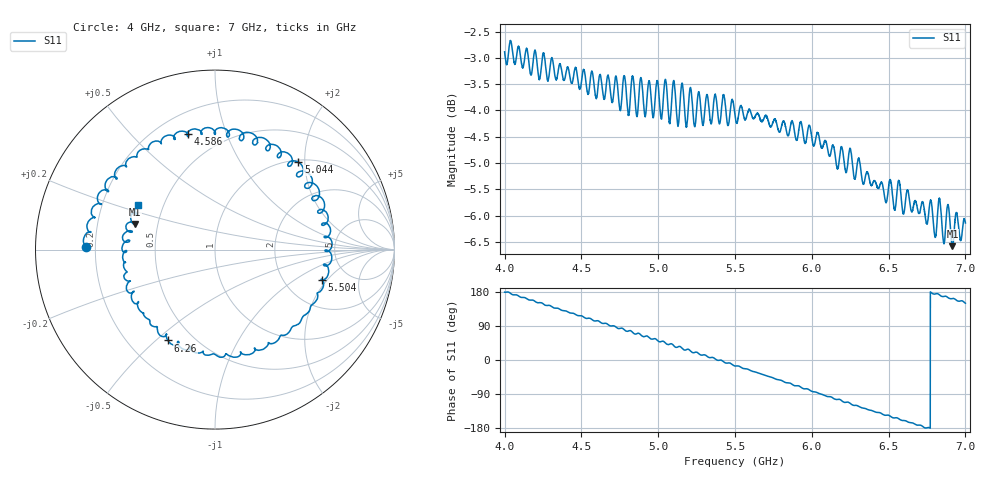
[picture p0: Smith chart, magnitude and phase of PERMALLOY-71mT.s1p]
#  HZ  S  RI  R  50.0
! Rohde & Schwarz ZVL13 2Ports - Version 3.31 - 1303.6509k13 SN: 101088
! Date: 2023-03-03 14:44:32
! Data & Calibration Information:
! Trc2:S21(TOSM)
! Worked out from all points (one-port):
!   4000 points, 4 GHz to 7 GHz, reference 50 ohm
!   lowest |S11| = -6.6 dB at 6.916 GHz (marker M1), VSWR 2.76, Z = 18.5 + j6.79 ohm
!   |S11| at or under -10 dB: nowhere
!   S11 on the Smith chart (normalised r, x): 4 GHz: 0.16, +0.01; 4.586 GHz: 0.33, +0.74; 5.044 GHz: 1.04, +1.86; 5.504 GHz: 3.20, -1.76; 6.26 GHz: 0.37, -0.55; 7 GHz: 0.36, +0.24
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4e9  -0.7171 0.0127
4.024006e9  -0.7133 0.00855
4.194299e9  -0.6547 0.2942
4.375094e9  -0.4457 0.5179
4.51838e9  -0.2611 0.6374
4.585896e9  -0.1493 0.6431
4.674419e9  -0.0381 0.6802
4.750188e9  0.0748 0.6285
4.777194e9  0.1128 0.671
4.883721e9  0.2585 0.6247
5.043511e9  0.4641 0.4875
5.125281e9  0.5086 0.3417
5.16129e9  0.5817 0.316
5.186047e9  0.5398 0.2842
5.213803e9  0.6106 0.251
5.31958e9  0.6442 0.1054
5.500375e9  0.6 -0.1703
5.504126e9  0.5948 -0.1696
5.647412e9  0.522 -0.3481
5.875469e9  0.257 -0.5583
6.03976e9  0.0328 -0.599
6.250563e9  -0.2405 -0.5278
6.259565e9  -0.2619 -0.5063
6.462116e9  -0.4305 -0.3171
6.625656e9  -0.5075 -0.1507
6.829707e9  -0.5155 0.0689
6.915979e9  -0.4462 0.1433
7e9  -0.426 0.2484
